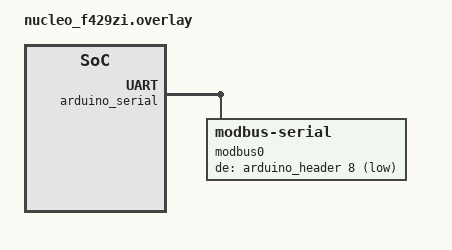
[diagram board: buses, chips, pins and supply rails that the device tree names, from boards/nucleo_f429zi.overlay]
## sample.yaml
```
sample:
  name: BACnet Smart Sensor (B-SS) Sample

common:
  platform_allow:
    - nucleo_f429zi
    - rpi_pico
    - adafruit_grand_central_m4_express
  build_only: true

tests:

  bacnet-stack.sample.profile.b-ss.bacdl_none:
    tags: bacnet

  bacnet-stack.sample.profile.b-ss.bacdl_mstp:
    extra_configs:
      - CONFIG_BACDL_MSTP=y
    tags: introduction

  bacnet-stack.sample.profile.b-ss.bacdl_bip:
    extra_configs:
      - CONFIG_BACDL_BIP=y
    tags: introduction

  bacnet-stack.sample.profile.b-ss.bacdl_bip6:
    skip: true
    extra_configs:
      - CONFIG_BACDL_BIP6=y
    tags: introduction

  bacnet-stack.sample.profile.b-ss.bacdl_ethernet:
    skip: true
    extra_configs:
      - CONFIG_BACDL_ETHERNET=y
    tags: introduction
```

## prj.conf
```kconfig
# General config
#CONFIG_ASSERT=y
#CONFIG_ASSERT_LEVEL=2
#CONFIG_ASSERT_VERBOSE=y

# Compiler library config
#CONFIG_PICOLIBC=y
#CONFIG_PICOLIBC_USE_MODULE=y
#CONFIG_REQUIRES_FULL_LIBC=y
#CONFIG_MINIMAL_LIBC=y

# system
# some heap is needed for the shell
CONFIG_HEAP_MEM_POOL_SIZE=2048
CONFIG_KERNEL_MEM_POOL=y
CONFIG_MAIN_THREAD_PRIORITY=7
#CONFIG_PICOLIBC=y
CONFIG_ISR_STACK_SIZE=8192
CONFIG_MAIN_STACK_SIZE=8192
CONFIG_IDLE_STACK_SIZE=2048
CONFIG_INIT_STACKS=y

# BACnet Library
CONFIG_BACNETSTACK=y
# BACnet Library - shell
CONFIG_BACNETSTACK_BACNET_SHELL=y
CONFIG_BACNETSTACK_BACNET_BASIC_SHELL=y
CONFIG_BACAPP_PRINT_ENABLED=y
CONFIG_SHELL_STACK_SIZE=16384
# BACnet settings subsystem
CONFIG_BACNETSTACK_BACNET_SETTINGS=y
CONFIG_BACNET_SETTINGS_SHELL=y
# the dependencies of the SETTINGS option.
CONFIG_FLASH=y
CONFIG_FLASH_MAP=y
CONFIG_NVS=y
CONFIG_SETTINGS=y
CONFIG_SETTINGS_NVS=y
CONFIG_SETTINGS_RUNTIME=y
CONFIG_REBOOT=y
# BACnet Library - options
CONFIG_BACNET_MAX_CHARACTER_STRING_BYTES=128
CONFIG_BACAPP_MINIMAL=y
CONFIG_BACAPP_HOST_N_PORT=y
# BACnet Library - objects
CONFIG_BACNET_BASIC_OBJECT_NETWORK_PORT=y
CONFIG_BACNET_BASIC_OBJECT_ANALOG_INPUT=y
# BACnet Library - server framework
CONFIG_BACNET_BASIC_SERVER=y

# BACnet Datalink Options
CONFIG_BACDL_BIP=y
CONFIG_BACDL_BIP_PORT=47808
# don't define index if you want to use the default interface
# note: with DHCP and AutoIP enabled, index 0=AutoIP, 1=DHCP
# CONFIG_BACDL_BIP_ADDRESS_INDEX=1

# networking
CONFIG_NETWORKING=y
CONFIG_NET_ARP=y
CONFIG_NET_UDP=y
CONFIG_NET_SHELL=y
CONFIG_NET_SOCKETS=y
CONFIG_NET_IPV4=y
CONFIG_NET_IPV4_LOG_LEVEL_DBG=n
CONFIG_NET_IF_MAX_IPV4_COUNT=2
CONFIG_NET_IF_UNICAST_IPV4_ADDR_COUNT=2
CONFIG_NET_IF_MCAST_IPV4_ADDR_COUNT=2
# Dynamic IP address
CONFIG_NET_DHCPV4=y
CONFIG_NET_DHCPV4_LOG_LEVEL_DBG=n
CONFIG_NET_IPV4_AUTO=n
CONFIG_NET_IPV4_AUTO_LOG_LEVEL_DBG=n
CONFIG_NET_ICMPV4_LOG_LEVEL_DBG=n
# Network debug config
CONFIG_NET_LOG=y
CONFIG_NET_SHELL=y

#CONFIG_DNS_RESOLVER=y
#CONFIG_SLIP_STATISTICS=n

CONFIG_NET_TX_STACK_SIZE=8192
CONFIG_NET_RX_STACK_SIZE=8192

# Enable Shell, Console, and Logging features
CONFIG_CONSOLE=y
CONFIG_PRINTK=y
CONFIG_SHELL=y
CONFIG_KERNEL_SHELL=y
CONFIG_THREAD_MONITOR=y
#CONFIG_BOOT_BANNER=n
CONFIG_THREAD_NAME=y
CONFIG_DEVICE_SHELL=y
#CONFIG_POSIX_CLOCK=y
#CONFIG_DATE_SHELL=y
CONFIG_LOG=y
CONFIG_LOG_BACKEND_UART=y
CONFIG_SHELL_LOG_BACKEND=n
#CONFIG_LOG_STRDUP_BUF_COUNT=4
#CONFIG_LOG_STRDUP_MAX_STRING=96
#CONFIG_NET_CONN_LOG_LEVEL_DEFAULT=n
#CONFIG_NET_CONN_LOG_LEVEL_DBG=y
#CONFIG_NET_IF_LOG_LEVEL_DEFAULT=n
CONFIG_NET_IF_LOG_LEVEL_DBG=n
CONFIG_NET_LOG=y

# enable the thread, stack, and runtime stats
CONFIG_THREAD_ANALYZER=y
CONFIG_THREAD_STACK_INFO=y
CONFIG_THREAD_RUNTIME_STATS=y
#CONFIG_THREAD_RUNTIME_STATS_USE_TIMING_FUNCTIONS=n
#CONFIG_SCHED_THREAD_USAGE=y
#CONFIG_SCHED_THREAD_USAGE_ANALYSIS=y
CONFIG_STATS=y
CONFIG_STATS_SHELL=y

#
# Storage
#
#CONFIG_FLASH=y
#CONFIG_FLASH_MAP=y
#CONFIG_FLASH_PAGE_LAYOUT=y
# native_posix uses a simulated flash
#CONFIG_FLASH_SIMULATOR=y
#CONFIG_DISK_ACCESS=y.
#CONFIG_FILE_SYSTEM=y
#CONFIG_FILE_SYSTEM_LITTLEFS=y
#CONFIG_FILE_SYSTEM_SHELL=y
#CONFIG_SETTINGS_RUNTIME=y
#CONFIG_SETTINGS_FILE=y
#CONFIG_SETTINGS_SHELL=y

CONFIG_TEST_RANDOM_GENERATOR=y
CONFIG_TIMER_RANDOM_GENERATOR=y
```

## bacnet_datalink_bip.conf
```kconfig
# BIP6 Options
#CONFIG_BACDL_BIP=y
#CONFIG_BACDL_BIP_PORT=47808
#CONFIG_BACDL_BIP_ADDRESS_INDEX=0
#CONFIG_NET_IPV4=y
```

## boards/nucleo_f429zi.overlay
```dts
/*
 * Copyright (c) 2022 STMicroelectronics
 *
 * SPDX-License-Identifier: Apache-2.0
 */
/* FIXME: remove 'delete-node' if building with Zephyr version 4 or later
   when ST removed storage_partition from their SDK board DTS.  */
/delete-node/ &storage_partition;

&flash0 {
  partitions {
    /*
     * nvs subsystem requires 2 sectors with a max total of 32K
     * On F4 series, the only option is to use the following
     * partition, which is compatible with mcuboot usage.
     * (limited by nvs.h: uint16_t sector_size)
     * Located in the first two 16K sectors of the second flash bank
     * (0x100000), above the firmware image which is linked at 0x0 when
     * not using mcuboot. A storage partition overlapping the firmware
     * would make the settings init fail (-EDEADLK) and erasing it would
     * erase the running firmware.
     */
    storage_partition: partition@100000 {
      compatible = "zephyr,mapped-partition";
      label = "storage";
      reg = <0x0100000 DT_SIZE_K(32)>;
    };
  };
};

&arduino_serial {
    status = "okay";

    modbus0 {
        compatible = "zephyr,modbus-serial";
        status = "okay";

        de-gpios = <&arduino_header 8 GPIO_ACTIVE_LOW>; /* D2*/
    };
};
```

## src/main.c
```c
/**
 * @file
 * @brief BACnet Stack sample Smart Sensor (B-SS) main file
 * @author Steve Karg <skarg@users.sourceforge.net>
 * @date October 2024
 * @copyright SPDX-License-Identifier: Apache-2.0
 */
#include <zephyr/kernel.h>
#include <zephyr/random/random.h>
#include <stdint.h>
#include <stdlib.h>
/* BACnet Stack defines - first */
#include "bacnet/bacdef.h"
/* BACnet Stack core API */
#include "bacnet/version.h"
#include "bacnet/basic/sys/mstimer.h"
/* BACnet Stack basic device API -
   see bacnet/basic/server/bacnet_device.c for details */
#include "bacnet/basic/object/device.h"
/* BACnet Stack basic objects - also enable in prj.conf */
#include "bacnet/basic/object/ai.h"
#if (BACNET_PROTOCOL_REVISION >= 17)
#include "bacnet/basic/object/netport.h"
#endif
#include "bacnet/basic/server/bacnet_basic.h"
#include "bacnet/basic/server/bacnet_port.h"
/* BACnet Stack Zephyr services */
#include <bacnet_settings/bacnet_settings.h>
#include <bacnet_settings/bacnet_storage.h>
#include <bacnet_osif/bacnet_lock.h>
#include <bacnet_osif/bacnet_reinit.h>
/* Logging module registration is already done in ports/zephyr/main.c */
#include <bacnet_osif/bacnet_log.h>
LOG_MODULE_DECLARE(bacnet, CONFIG_BACNETSTACK_LOG_LEVEL);

/* Default values before we get the device instance and name from settings */
static const char *Device_Name = "BACnet Smart Sensor (B-SS)";
static const uint32_t Device_Instance = 260121;
/* object instances */
static const uint32_t Sensor_Instance = 1;
/* timer for Sensor Update Interval */
static struct mstimer Sensor_Update_Timer;

/**
 * @brief Clear any stored BACnet settings before a cold start reboot
 * @param context [in] The context to pass to the callback function
 */
static void BACnet_Smart_Sensor_Coldstart_Callback(void *context)
{
    int err;

    (void)context;
    LOG_INF("COLDSTART: Clearing BACnet settings...");
    err = bacnet_settings_clear();
    if (err < 0) {
        LOG_ERR("COLDSTART: Failed to clear BACnet settings: %d", err);
    } else {
        LOG_INF("COLDSTART: Successfully cleared BACnet settings");
    }
}

/**
 * @brief Callback data for WriteProperty restore iterator
 * @param write_function The WriteProperty function to call
 * @param context The context to pass to the WriteProperty function
 * @return true if the WriteProperty succeeded
 */
static bool
Settings_Restore_Callback(BACNET_WRITE_PROPERTY_DATA *wp_data, void *context)
{
    (void)context;
    return Device_Write_Property(wp_data);
}

/**
 * @brief BACnet Project Initialization Handler
 * @param context [in] The context to pass to the callback function
 * @note This is called from the BACnet task
 */
static void BACnet_Smart_Sensor_Init_Handler(void *context)
{
    const float default_temperature = 25.0f;

    (void)context;
    LOG_INF("BACnet Stack Initialized");
    /* initialize objects with default values for this basic sample */
    Device_Set_Object_Instance_Number(Device_Instance);
    Device_Object_Name_ANSI_Init(Device_Name);
    Analog_Input_Create(Sensor_Instance);
    Analog_Input_Name_Set(Sensor_Instance, "Sensor");
    Analog_Input_Present_Value_Set(Sensor_Instance, default_temperature);
    Analog_Input_Units_Set(Sensor_Instance, UNITS_DEGREES_CELSIUS);
    Analog_Input_COV_Increment_Set(Sensor_Instance, 1.0f);
    /* restore any property values previously stored via WriteProperty */
    bacnet_settings_init();
    bacnet_settings_write_property_restore(&Settings_Restore_Callback, NULL);
    /* writable property values are stored with WriteProperty.
       Set this callback after restore to prevent recursion. */
    bacnet_basic_store_callback_set(bacnet_settings_basic_store);
    LOG_INF("BACnet Device ID: %u", Device_Object_Instance_Number());
    /* start the seconds cyclic timer */
    mstimer_set(&Sensor_Update_Timer, 1000);
    bacnet_reinitialize_device_init(CONFIG_BACNET_REINIT_REBOOT_DELAY);
    srand(sys_rand32_get());
}

/**
 * @brief BACnet Project Task Handler
 * @param context [in] The context to pass to the callback function
 * @note This is called from the BACnet task
 */
static void BACnet_Smart_Sensor_Task_Handler(void *context)
{
    float temperature = 0.0f, change = 0.0f;

    bacnet_reinitialize_device_task(
        BACnet_Smart_Sensor_Coldstart_Callback, context);
    if (mstimer_expired(&Sensor_Update_Timer)) {
        mstimer_reset(&Sensor_Update_Timer);
        /* simulate a sensor reading, and update the BACnet object values */
        if (Analog_Input_Out_Of_Service(Sensor_Instance)) {
            return;
        }
        temperature = Analog_Input_Present_Value(Sensor_Instance);
        change = -1.0f + 2.0f * ((float)sys_rand32_get() / (float)UINT32_MAX);
        temperature += change;
        Analog_Input_Present_Value_Set(Sensor_Instance, temperature);
    }
}

int main(void)
{
    bool port_initialized = false;

    LOG_INF("BACnet Device: %s", Device_Name);
    LOG_INF("BACnet Stack Version " BACNET_VERSION_TEXT);
    LOG_INF("BACnet Stack Max APDU: %d", MAX_APDU);
    bacnet_basic_init_callback_set(BACnet_Smart_Sensor_Init_Handler, NULL);
    bacnet_basic_task_callback_set(BACnet_Smart_Sensor_Task_Handler, NULL);
    bacnet_lock();
    bacnet_basic_init();
    bacnet_unlock();
    for (;;) {
        k_sleep(K_MSEC(CONFIG_BACNET_BASIC_SERVER_KSLEEP));
        bacnet_lock();
        bacnet_basic_task();
        if (port_initialized) {
            bacnet_port_task();
        }
        bacnet_unlock();
        /* Port init can wait for an IPv4 address. Keep that wait outside
           the BACnet lock. */
        if (!port_initialized) {
            port_initialized = bacnet_port_init();
        }
    }

    return 0;
}
```
